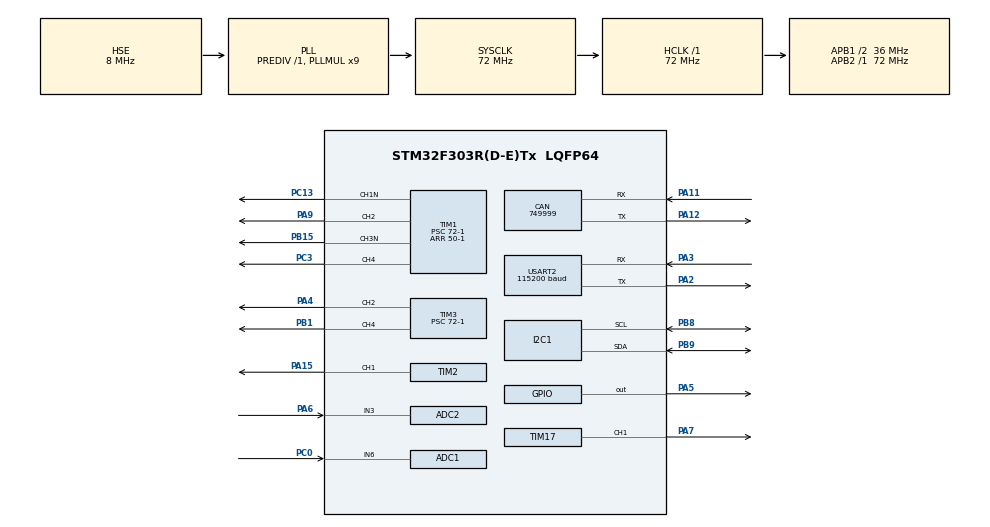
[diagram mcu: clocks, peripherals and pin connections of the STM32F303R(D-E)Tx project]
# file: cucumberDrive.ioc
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ADC1.Channel-0\#ChannelRegularConversion=ADC_CHANNEL_6
ADC1.ClockPrescaler=ADC_CLOCK_ASYNC_DIV1
ADC1.NbrOfConversionFlag=1
ADC1.Offset-0\#ChannelRegularConversion=0
ADC1.OffsetNumber-0\#ChannelRegularConversion=ADC_OFFSET_NONE
ADC1.Rank-0\#ChannelRegularConversion=1
ADC1.SamplingTime-0\#ChannelRegularConversion=ADC_SAMPLETIME_19CYCLES_5
ADC1.SamplingTimeOPAMP-0\#ChannelRegularConversion=ADC_SAMPLETIME_61CYCLES_5
ADC1.master=1
ADC2.Channel-0\#ChannelRegularConversion=ADC_CHANNEL_3
ADC2.NbrOfConversionFlag=1
ADC2.Offset-0\#ChannelRegularConversion=0
ADC2.OffsetNumber-0\#ChannelRegularConversion=ADC_OFFSET_NONE
ADC2.Rank-0\#ChannelRegularConversion=1
ADC2.SamplingTime-0\#ChannelRegularConversion=ADC_SAMPLETIME_19CYCLES_5
ADC2.SamplingTimeOPAMP-0\#ChannelRegularConversion=ADC_SAMPLETIME_61CYCLES_5
CAN.CalculateBaudRate=749999
CAN.CalculateTimeBit=1333
CAN.CalculateTimeQuantum=444.44444444444446
FREERTOS.Tasks01=readData,24,128,StartreadData,Default,NULL,Dynamic,NULL,NULL;transmitUART,16,256,StarttransmitUART,Default,NULL,Dynamic,NULL,NULL;transmitCAN,16,256,StarttransmitCAN,Default,NULL,Dynamic,NULL,NULL
FREERTOS.configTOTAL_HEAP_SIZE=4096
FREERTOS.configUSE_NEWLIB_REENTRANT=1
I2C1.Timing=0x00201D2B
Mcu.Family=STM32F3
Mcu.Name=STM32F303R(D-E)Tx
Mcu.Package=LQFP64
NVIC.PriorityGroup=NVIC_PRIORITYGROUP_4
NVIC.TIM6_DAC_IRQn=true\:15\:0\:false\:false\:true\:false\:false\:true\:true
NVIC.TimeBase=TIM6_DAC_IRQn
NVIC.TimeBaseIP=TIM6
PA11.Mode=CAN_Activate
PA11.Signal=CAN_RX
PA12.Mode=CAN_Activate
PA12.Signal=CAN_TX
PA13.Mode=Serial_Wire
PA13.Signal=SYS_JTMS-SWDIO
PA14.Mode=Serial_Wire
PA14.Signal=SYS_JTCK-SWCLK
PA15.Signal=S_TIM2_CH1_ETR
PA2.Mode=Asynchronous
PA2.Signal=USART2_TX
PA3.Mode=Asynchronous
PA3.Signal=USART2_RX
PA4.Signal=S_TIM3_CH2
PA5.Signal=GPIO_Output
PA6.Mode=IN3-Single-Ended
PA6.Signal=ADC2_IN3
PA7.Signal=S_TIM17_CH1
PA8.Signal=S_TIM1_CH1
PA9.Signal=S_TIM1_CH2
PB1.Signal=S_TIM3_CH4
PB15.Mode=PWM Generation3 CH3N
PB15.Signal=TIM1_CH3N
PB8.Mode=I2C
PB8.Signal=I2C1_SCL
PB9.Mode=I2C
PB9.Signal=I2C1_SDA
PC0.Signal=ADCx_IN6
PC13.Mode=PWM Generation1 CH1N
PC13.Signal=TIM1_CH1N
PC3.Signal=S_TIM1_CH4
PF0-OSC_IN.Mode=HSE-External-Oscillator
PF0-OSC_IN.Signal=RCC_OSC_IN
PF1-OSC_OUT.Mode=HSE-External-Oscillator
PF1-OSC_OUT.Signal=RCC_OSC_OUT
ProjectManager.HeapSize=0x200
ProjectManager.StackSize=0x400
ProjectManager.TargetToolchain=STM32CubeIDE
RCC.AHBFreq_Value=72000000
RCC.APB1CLKDivider=RCC_HCLK_DIV2
RCC.APB1Freq_Value=36000000
RCC.APB1TimFreq_Value=72000000
RCC.APB2Freq_Value=72000000
RCC.APB2TimFreq_Value=72000000
RCC.CortexFreq_Value=72000000
RCC.HCLKFreq_Value=72000000
RCC.HSE_VALUE=8000000
RCC.HSI_VALUE=8000000
RCC.LSE_VALUE=32768
RCC.PLLMUL=RCC_PLL_MUL9
RCC.PLLSourceVirtual=RCC_PLLSOURCE_HSE
RCC.SYSCLKFreq_VALUE=72000000
RCC.SYSCLKSourceVirtual=RCC_SYSCLKSOURCE_PLLCLK
RCC.USBFreq_Value=72000000
SH.ADCx_IN6.0=ADC1_IN6,IN6-Single-Ended
SH.S_TIM17_CH1.0=TIM17_CH1,PWM Generation1 CH1
SH.S_TIM1_CH1.0=TIM1_CH1
SH.S_TIM1_CH2.0=TIM1_CH2,PWM Generation2 CH2
SH.S_TIM1_CH4.0=TIM1_CH4,PWM Generation4 CH4
SH.S_TIM2_CH1_ETR.0=TIM2_CH1,PWM Generation1 CH1
SH.S_TIM3_CH2.0=TIM3_CH2,PWM Generation2 CH2
SH.S_TIM3_CH4.0=TIM3_CH4,PWM Generation4 CH4
TIM1.Channel-PWM\ Generation1\ CH1N=TIM_CHANNEL_1
TIM1.Channel-PWM\ Generation2\ CH2=TIM_CHANNEL_2
TIM1.Channel-PWM\ Generation3\ CH3N=TIM_CHANNEL_3
TIM1.Channel-PWM\ Generation4\ CH4=TIM_CHANNEL_4
TIM1.Period=50-1
TIM1.Prescaler=72-1
TIM17.Channel=TIM_CHANNEL_1
TIM17.Period=50-1
TIM17.Prescaler=72-1
TIM2.Channel-PWM\ Generation1\ CH1=TIM_CHANNEL_1
TIM2.Period=50-1
TIM2.Prescaler=72-1
TIM3.Channel-PWM\ Generation2\ CH2=TIM_CHANNEL_2
TIM3.Channel-PWM\ Generation4\ CH4=TIM_CHANNEL_4
TIM3.Period=50-1
TIM3.Prescaler=72-1
USART2.BaudRate=115200
USART2.VirtualMode-Asynchronous=VM_ASYNC
VP_FREERTOS_VS_CMSIS_V2.Mode=CMSIS_V2
VP_SYS_VS_tim6.Mode=TIM6
VP_TIM17_VS_ClockSourceINT.Mode=Enable_Timer
VP_TIM1_VS_ClockSourceINT.Mode=Internal
VP_TIM2_VS_ClockSourceINT.Mode=Internal
VP_TIM3_VS_ClockSourceINT.Mode=Internal
board=custom

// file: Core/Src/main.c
/* USER CODE BEGIN Header */
/**
  ******************************************************************************
  * @file           : main.c
  * @brief          : Main program body
  ******************************************************************************
  * @attention
  *
  * Copyright (c) 2025 STMicroelectronics.
  * All rights reserved.
  *
  * This software is licensed under terms that can be found in the LICENSE file
  * in the root directory of this software component.
  * If no LICENSE file comes with this software, it is provided AS-IS.
  *
  ******************************************************************************
  */
/* USER CODE END Header */
#include "main.h"
#include "cmsis_os.h"

/* USER CODE BEGIN Includes */
#include <stdio.h> // Include standard I/O for printf
#include <string.h>	 // Include string functions for manipulating strings
#include "BME280_STM32.h" // Include the BME280 header file for sensor functions
/* USER CODE END Includes */

ADC_HandleTypeDef hadc1;
ADC_HandleTypeDef hadc2;

CAN_HandleTypeDef hcan;

I2C_HandleTypeDef hi2c1;

TIM_HandleTypeDef htim1;
TIM_HandleTypeDef htim2;
TIM_HandleTypeDef htim3;
TIM_HandleTypeDef htim17;

UART_HandleTypeDef huart2;

/* Definitions for readData */
osThreadId_t readDataHandle;
const osThreadAttr_t readData_attributes = {
  .name = "readData",
  .stack_size = 128 * 4,
  .priority = (osPriority_t) osPriorityNormal,
};
/* Definitions for transmitUART */
osThreadId_t transmitUARTHandle;
const osThreadAttr_t transmitUART_attributes = {
  .name = "transmitUART",
  .stack_size = 256 * 4,
  .priority = (osPriority_t) osPriorityBelowNormal,
};
/* Definitions for transmitCAN */
osThreadId_t transmitCANHandle;
const osThreadAttr_t transmitCAN_attributes = {
  .name = "transmitCAN",
  .stack_size = 256 * 4,
  .priority = (osPriority_t) osPriorityBelowNormal,
};
/* USER CODE BEGIN PV */
	uint16_t adc1_rawValue = 0; // Variable to store ADC1 value
	uint16_t adc2_rawValue = 0; // Variable to store ADC1 value
	char msg[20];
	char msg2[15];
/* USER CODE END PV */

void SystemClock_Config(void);
static void MX_GPIO_Init(void);
static void MX_I2C1_Init(void);
static void MX_USART2_UART_Init(void);
static void MX_CAN_Init(void);
static void MX_TIM1_Init(void);
static void MX_TIM2_Init(void);
static void MX_TIM3_Init(void);
static void MX_TIM17_Init(void);
static void MX_ADC1_Init(void);
static void MX_ADC2_Init(void);
void StartreadData(void *argument);
void StarttransmitUART(void *argument);
void StarttransmitCAN(void *argument);

/* USER CODE BEGIN 0 */

float Temperature, Pressure, Humidity;

typedef struct {
	float temperature;
	float humidity;
	float voltage1;
	float voltage2;
} SensorData;

osMessageQueueId_t sensorQueueHandle;

/* USER CODE END 0 */

int main(void)
{

  /* MCU Configuration--------------------------------------------------------*/

  /* Reset of all peripherals, Initializes the Flash interface and the Systick. */
  HAL_Init();

  /* Configure the system clock */
  SystemClock_Config();

  /* Initialize all configured peripherals */
  MX_GPIO_Init();
  MX_I2C1_Init();
  MX_USART2_UART_Init();
  MX_CAN_Init();
  MX_TIM1_Init();
  MX_TIM2_Init();
  MX_TIM3_Init();
  MX_TIM17_Init();
  MX_ADC1_Init();
  MX_ADC2_Init();
  /* USER CODE BEGIN 2 */
  HAL_ADC_Start(&hadc1); // Start ADC1
  HAL_ADC_Start(&hadc2); // Start ADC2
  HAL_CAN_Start(&hcan);
  HAL_CAN_ActivateNotification(&hcan, CAN_IT_RX_FIFO1_MSG_PENDING);
  BME280_Config(OSRS_2, OSRS_16, OSRS_1, MODE_NORMAL, T_SB_0p5, IIR_16);
  // Initialize the BME280 sensor with oversampling and mode settings

  // Optocouplers (left motor):

  // Timer 3, Channel 4 on PB1 (TOPIN_LA).
  TIM3->CCR4 = 10;
  HAL_TIM_PWM_Start(&htim3, TIM_CHANNEL_4);

  // Timer 1, Channel 1 on PA8 (BOTIN_LA).
  TIM1->CCR1 = 10;
  HAL_TIM_PWM_Start(&htim1, TIM_CHANNEL_1);

  // Timer 17, Channel 1 on PA7 (TOPIN_LB).
  //TIM17->CCR1 = 25;
  //HAL_TIM_PWM_Start(&htim17, TIM_CHANNEL_1);

  // Timer 1, Channel 2 on PA9 (BOTIN_LB).
  TIM1->CCR2 = 100;
  HAL_TIM_PWM_Start(&htim1, TIM_CHANNEL_2);

  // Optocouplers (Right motor):

  // Timer 1, Channel 4 on PC3 (TOPIN_RA).
  TIM1->CCR4 = 10;
  HAL_TIM_PWM_Start(&htim1, TIM_CHANNEL_4);

  // Timer 1, Channel 3 on PC2 (BOTIN_RA).
  TIM1->CCR3 = 10;
  HAL_TIM_PWM_Start(&htim1, TIM_CHANNEL_3);

  // Timer 2, Channel 1 on PA15 (TOPIN_RB).
  //TIM2->CCR1 = 25;
  //HAL_TIM_PWM_Start(&htim2, TIM_CHANNEL_1);

  // Timer 3, Channel 2 on PA4 (BOTIN_RB).
  TIM3->CCR2 = 100;
  HAL_TIM_PWM_Start(&htim3, TIM_CHANNEL_2);

  /* USER CODE END 2 */

  /* Init scheduler */
  osKernelInitialize();

  /* USER CODE BEGIN RTOS_QUEUES */
  /* add queues, ... */
  sensorQueueHandle = osMessageQueueNew(8, sizeof(SensorData), NULL);
  /* USER CODE END RTOS_QUEUES */

  /* Create the thread(s) */
  /* creation of readData */
  readDataHandle = osThreadNew(StartreadData, NULL, &readData_attributes);

  /* creation of transmitUART */
  transmitUARTHandle = osThreadNew(StarttransmitUART, NULL, &transmitUART_attributes);

  /* creation of transmitCAN */
  transmitCANHandle = osThreadNew(StarttransmitCAN, NULL, &transmitCAN_attributes);

  /* Start scheduler */
  osKernelStart();

  /* We should never get here as control is now taken by the scheduler */

  /* Infinite loop */
  while (1)
  {

  }
}

void SystemClock_Config(void)
{
  RCC_OscInitTypeDef RCC_OscInitStruct = {0};
  RCC_ClkInitTypeDef RCC_ClkInitStruct = {0};
  RCC_PeriphCLKInitTypeDef PeriphClkInit = {0};

  /** Initializes the RCC Oscillators according to the specified parameters
  * in the RCC_OscInitTypeDef structure.
  */
  RCC_OscInitStruct.OscillatorType = RCC_OSCILLATORTYPE_HSI|RCC_OSCILLATORTYPE_HSE;
  RCC_OscInitStruct.HSEState = RCC_HSE_ON;
  RCC_OscInitStruct.HSIState = RCC_HSI_ON;
  RCC_OscInitStruct.HSICalibrationValue = RCC_HSICALIBRATION_DEFAULT;
  RCC_OscInitStruct.PLL.PLLState = RCC_PLL_ON;
  RCC_OscInitStruct.PLL.PLLSource = RCC_PLLSOURCE_HSE;
  RCC_OscInitStruct.PLL.PLLMUL = RCC_PLL_MUL9;
  RCC_OscInitStruct.PLL.PREDIV = RCC_PREDIV_DIV1;
  if (HAL_RCC_OscConfig(&RCC_OscInitStruct) != HAL_OK)
  {
    Error_Handler();
  }

  /** Initializes the CPU, AHB and APB buses clocks
  */
  RCC_ClkInitStruct.ClockType = RCC_CLOCKTYPE_HCLK|RCC_CLOCKTYPE_SYSCLK
                              |RCC_CLOCKTYPE_PCLK1|RCC_CLOCKTYPE_PCLK2;
  RCC_ClkInitStruct.SYSCLKSource = RCC_SYSCLKSOURCE_PLLCLK;
  RCC_ClkInitStruct.AHBCLKDivider = RCC_SYSCLK_DIV1;
  RCC_ClkInitStruct.APB1CLKDivider = RCC_HCLK_DIV2;
  RCC_ClkInitStruct.APB2CLKDivider = RCC_HCLK_DIV1;

  if (HAL_RCC_ClockConfig(&RCC_ClkInitStruct, FLASH_LATENCY_2) != HAL_OK)
  {
    Error_Handler();
  }
  PeriphClkInit.PeriphClockSelection = RCC_PERIPHCLK_USART2|RCC_PERIPHCLK_I2C1
                              |RCC_PERIPHCLK_TIM1|RCC_PERIPHCLK_TIM17
                              |RCC_PERIPHCLK_ADC12|RCC_PERIPHCLK_TIM2
                              |RCC_PERIPHCLK_TIM34;
  PeriphClkInit.Usart2ClockSelection = RCC_USART2CLKSOURCE_PCLK1;
  PeriphClkInit.Adc12ClockSelection = RCC_ADC12PLLCLK_DIV1;
  PeriphClkInit.I2c1ClockSelection = RCC_I2C1CLKSOURCE_HSI;
  PeriphClkInit.Tim1ClockSelection = RCC_TIM1CLK_HCLK;
  PeriphClkInit.Tim17ClockSelection = RCC_TIM17CLK_HCLK;
  PeriphClkInit.Tim2ClockSelection = RCC_TIM2CLK_HCLK;
  PeriphClkInit.Tim34ClockSelection = RCC_TIM34CLK_HCLK;
  if (HAL_RCCEx_PeriphCLKConfig(&PeriphClkInit) != HAL_OK)
  {
    Error_Handler();
  }
}

static void MX_ADC1_Init(void)
{

  ADC_MultiModeTypeDef multimode = {0};
  ADC_ChannelConfTypeDef sConfig = {0};

  /** Common config
  */
  hadc1.Instance = ADC1;
  hadc1.Init.ClockPrescaler = ADC_CLOCK_ASYNC_DIV1;
  hadc1.Init.Resolution = ADC_RESOLUTION_12B;
  hadc1.Init.ScanConvMode = ADC_SCAN_DISABLE;
  hadc1.Init.ContinuousConvMode = DISABLE;
  hadc1.Init.DiscontinuousConvMode = DISABLE;
  hadc1.Init.ExternalTrigConvEdge = ADC_EXTERNALTRIGCONVEDGE_NONE;
  hadc1.Init.ExternalTrigConv = ADC_SOFTWARE_START;
  hadc1.Init.DataAlign = ADC_DATAALIGN_RIGHT;
  hadc1.Init.NbrOfConversion = 1;
  hadc1.Init.DMAContinuousRequests = DISABLE;
  hadc1.Init.EOCSelection = ADC_EOC_SINGLE_CONV;
  hadc1.Init.LowPowerAutoWait = DISABLE;
  hadc1.Init.Overrun = ADC_OVR_DATA_OVERWRITTEN;
  if (HAL_ADC_Init(&hadc1) != HAL_OK)
  {
    Error_Handler();
  }

  /** Configure the ADC multi-mode
  */
  multimode.Mode = ADC_MODE_INDEPENDENT;
  if (HAL_ADCEx_MultiModeConfigChannel(&hadc1, &multimode) != HAL_OK)
  {
    Error_Handler();
  }

  /** Configure Regular Channel
  */
  sConfig.Channel = ADC_CHANNEL_6;
  sConfig.Rank = ADC_REGULAR_RANK_1;
  sConfig.SingleDiff = ADC_SINGLE_ENDED;
  sConfig.SamplingTime = ADC_SAMPLETIME_19CYCLES_5;
  sConfig.OffsetNumber = ADC_OFFSET_NONE;
  sConfig.Offset = 0;
  if (HAL_ADC_ConfigChannel(&hadc1, &sConfig) != HAL_OK)
  {
    Error_Handler();
  }

}

static void MX_ADC2_Init(void)
{

  ADC_ChannelConfTypeDef sConfig = {0};

  /** Common config
  */
  hadc2.Instance = ADC2;
  hadc2.Init.ClockPrescaler = ADC_CLOCK_ASYNC_DIV1;
  hadc2.Init.Resolution = ADC_RESOLUTION_12B;
  hadc2.Init.ScanConvMode = ADC_SCAN_DISABLE;
  hadc2.Init.ContinuousConvMode = DISABLE;
  hadc2.Init.DiscontinuousConvMode = DISABLE;
  hadc2.Init.ExternalTrigConvEdge = ADC_EXTERNALTRIGCONVEDGE_NONE;
  hadc2.Init.ExternalTrigConv = ADC_SOFTWARE_START;
  hadc2.Init.DataAlign = ADC_DATAALIGN_RIGHT;
  hadc2.Init.NbrOfConversion = 1;
  hadc2.Init.DMAContinuousRequests = DISABLE;
  hadc2.Init.EOCSelection = ADC_EOC_SINGLE_CONV;
  hadc2.Init.LowPowerAutoWait = DISABLE;
  hadc2.Init.Overrun = ADC_OVR_DATA_OVERWRITTEN;
  if (HAL_ADC_Init(&hadc2) != HAL_OK)
  {
    Error_Handler();
  }

  /** Configure Regular Channel
  */
  sConfig.Channel = ADC_CHANNEL_3;
  sConfig.Rank = ADC_REGULAR_RANK_1;
  sConfig.SingleDiff = ADC_SINGLE_ENDED;
  sConfig.SamplingTime = ADC_SAMPLETIME_19CYCLES_5;
  sConfig.OffsetNumber = ADC_OFFSET_NONE;
  sConfig.Offset = 0;
  if (HAL_ADC_ConfigChannel(&hadc2, &sConfig) != HAL_OK)
  {
    Error_Handler();
  }

}

static void MX_CAN_Init(void)
{

  hcan.Instance = CAN;
  hcan.Init.Prescaler = 16;
  hcan.Init.Mode = CAN_MODE_NORMAL;
  hcan.Init.SyncJumpWidth = CAN_SJW_1TQ;
  hcan.Init.TimeSeg1 = CAN_BS1_1TQ;
  hcan.Init.TimeSeg2 = CAN_BS2_1TQ;
  hcan.Init.TimeTriggeredMode = DISABLE;
  hcan.Init.AutoBusOff = DISABLE;
  hcan.Init.AutoWakeUp = DISABLE;
  hcan.Init.AutoRetransmission = DISABLE;
  hcan.Init.ReceiveFifoLocked = DISABLE;
  hcan.Init.TransmitFifoPriority = DISABLE;
  if (HAL_CAN_Init(&hcan) != HAL_OK)
  {
    Error_Handler();
  }
  /* USER CODE BEGIN CAN_Init 2 */

  CAN_FilterTypeDef canfilterconfig;

  canfilterconfig.FilterActivation = CAN_FILTER_ENABLE;
  canfilterconfig.FilterBank = 10;  // which filter bank to use from the assigned ones
  canfilterconfig.FilterFIFOAssignment = CAN_FILTER_FIFO1;
  canfilterconfig.FilterIdHigh = 0x446<<5;
  canfilterconfig.FilterIdLow = 0;
  canfilterconfig.FilterMaskIdHigh = 0x446<<5;
  canfilterconfig.FilterMaskIdLow = 0x0000;
  canfilterconfig.FilterMode = CAN_FILTERMODE_IDMASK;
  canfilterconfig.FilterScale = CAN_FILTERSCALE_32BIT;
  canfilterconfig.SlaveStartFilterBank = 0;  // doesn't matter in single can controllers

  HAL_CAN_ConfigFilter(&hcan, &canfilterconfig);

  /* USER CODE END CAN_Init 2 */

}

static void MX_I2C1_Init(void)
{

  hi2c1.Instance = I2C1;
  hi2c1.Init.Timing = 0x00201D2B;
  hi2c1.Init.OwnAddress1 = 0;
  hi2c1.Init.AddressingMode = I2C_ADDRESSINGMODE_7BIT;
  hi2c1.Init.DualAddressMode = I2C_DUALADDRESS_DISABLE;
  hi2c1.Init.OwnAddress2 = 0;
  hi2c1.Init.OwnAddress2Masks = I2C_OA2_NOMASK;
  hi2c1.Init.GeneralCallMode = I2C_GENERALCALL_DISABLE;
  hi2c1.Init.NoStretchMode = I2C_NOSTRETCH_DISABLE;
  if (HAL_I2C_Init(&hi2c1) != HAL_OK)
  {
    Error_Handler();
  }

  /** Configure Analogue filter
  */
  if (HAL_I2CEx_ConfigAnalogFilter(&hi2c1, I2C_ANALOGFILTER_ENABLE) != HAL_OK)
  {
    Error_Handler();
  }

  /** Configure Digital filter
  */
  if (HAL_I2CEx_ConfigDigitalFilter(&hi2c1, 0) != HAL_OK)
  {
    Error_Handler();
  }

}

static void MX_TIM1_Init(void)
{

  TIM_ClockConfigTypeDef sClockSourceConfig = {0};
  TIM_MasterConfigTypeDef sMasterConfig = {0};
  TIM_OC_InitTypeDef sConfigOC = {0};
  TIM_BreakDeadTimeConfigTypeDef sBreakDeadTimeConfig = {0};

  htim1.Instance = TIM1;
  htim1.Init.Prescaler = 72-1;
  htim1.Init.CounterMode = TIM_COUNTERMODE_UP;
  htim1.Init.Period = 50-1;
  htim1.Init.ClockDivision = TIM_CLOCKDIVISION_DIV1;
  htim1.Init.RepetitionCounter = 0;
  htim1.Init.AutoReloadPreload = TIM_AUTORELOAD_PRELOAD_DISABLE;
  if (HAL_TIM_Base_Init(&htim1) != HAL_OK)
  {
    Error_Handler();
  }
  sClockSourceConfig.ClockSource = TIM_CLOCKSOURCE_INTERNAL;
  if (HAL_TIM_ConfigClockSource(&htim1, &sClockSourceConfig) != HAL_OK)
  {
    Error_Handler();
  }
  if (HAL_TIM_PWM_Init(&htim1) != HAL_OK)
  {
    Error_Handler();
  }
  sMasterConfig.MasterOutputTrigger = TIM_TRGO_RESET;
  sMasterConfig.MasterOutputTrigger2 = TIM_TRGO2_RESET;
  sMasterConfig.MasterSlaveMode = TIM_MASTERSLAVEMODE_DISABLE;
  if (HAL_TIMEx_MasterConfigSynchronization(&htim1, &sMasterConfig) != HAL_OK)
  {
    Error_Handler();
  }
  sConfigOC.OCMode = TIM_OCMODE_PWM1;
  sConfigOC.Pulse = 0;
  sConfigOC.OCPolarity = TIM_OCPOLARITY_HIGH;
  sConfigOC.OCNPolarity = TIM_OCNPOLARITY_HIGH;
  sConfigOC.OCFastMode = TIM_OCFAST_DISABLE;
  sConfigOC.OCIdleState = TIM_OCIDLESTATE_RESET;
  sConfigOC.OCNIdleState = TIM_OCNIDLESTATE_RESET;
  if (HAL_TIM_PWM_ConfigChannel(&htim1, &sConfigOC, TIM_CHANNEL_1) != HAL_OK)
  {
    Error_Handler();
  }
  if (HAL_TIM_PWM_ConfigChannel(&htim1, &sConfigOC, TIM_CHANNEL_2) != HAL_OK)
  {
    Error_Handler();
  }
  if (HAL_TIM_PWM_ConfigChannel(&htim1, &sConfigOC, TIM_CHANNEL_3) != HAL_OK)
  {
    Error_Handler();
  }
  if (HAL_TIM_PWM_ConfigChannel(&htim1, &sConfigOC, TIM_CHANNEL_4) != HAL_OK)
  {
    Error_Handler();
  }
  sBreakDeadTimeConfig.OffStateRunMode = TIM_OSSR_DISABLE;
  sBreakDeadTimeConfig.OffStateIDLEMode = TIM_OSSI_DISABLE;
  sBreakDeadTimeConfig.LockLevel = TIM_LOCKLEVEL_OFF;
  sBreakDeadTimeConfig.DeadTime = 0;
  sBreakDeadTimeConfig.BreakState = TIM_BREAK_DISABLE;
  sBreakDeadTimeConfig.BreakPolarity = TIM_BREAKPOLARITY_HIGH;
  sBreakDeadTimeConfig.BreakFilter = 0;
  sBreakDeadTimeConfig.Break2State = TIM_BREAK2_DISABLE;
  sBreakDeadTimeConfig.Break2Polarity = TIM_BREAK2POLARITY_HIGH;
  sBreakDeadTimeConfig.Break2Filter = 0;
  sBreakDeadTimeConfig.AutomaticOutput = TIM_AUTOMATICOUTPUT_DISABLE;
  if (HAL_TIMEx_ConfigBreakDeadTime(&htim1, &sBreakDeadTimeConfig) != HAL_OK)
  {
    Error_Handler();
  }
  HAL_TIM_MspPostInit(&htim1);

}

static void MX_TIM2_Init(void)
{

  TIM_ClockConfigTypeDef sClockSourceConfig = {0};
  TIM_MasterConfigTypeDef sMasterConfig = {0};
  TIM_OC_InitTypeDef sConfigOC = {0};

  htim2.Instance = TIM2;
  htim2.Init.Prescaler = 72-1;
  htim2.Init.CounterMode = TIM_COUNTERMODE_UP;
  htim2.Init.Period = 50-1;
  htim2.Init.ClockDivision = TIM_CLOCKDIVISION_DIV1;
  htim2.Init.AutoReloadPreload = TIM_AUTORELOAD_PRELOAD_DISABLE;
  if (HAL_TIM_Base_Init(&htim2) != HAL_OK)
  {
    Error_Handler();
  }
  sClockSourceConfig.ClockSource = TIM_CLOCKSOURCE_INTERNAL;
  if (HAL_TIM_ConfigClockSource(&htim2, &sClockSourceConfig) != HAL_OK)
  {
    Error_Handler();
  }
  if (HAL_TIM_PWM_Init(&htim2) != HAL_OK)
  {
    Error_Handler();
  }
  sMasterConfig.MasterOutputTrigger = TIM_TRGO_RESET;
  sMasterConfig.MasterSlaveMode = TIM_MASTERSLAVEMODE_DISABLE;
  if (HAL_TIMEx_MasterConfigSynchronization(&htim2, &sMasterConfig) != HAL_OK)
  {
    Error_Handler();
  }
  sConfigOC.OCMode = TIM_OCMODE_PWM1;
  sConfigOC.Pulse = 0;
  sConfigOC.OCPolarity = TIM_OCPOLARITY_HIGH;
  sConfigOC.OCFastMode = TIM_OCFAST_DISABLE;
  if (HAL_TIM_PWM_ConfigChannel(&htim2, &sConfigOC, TIM_CHANNEL_1) != HAL_OK)
  {
    Error_Handler();
  }
  HAL_TIM_MspPostInit(&htim2);

}

static void MX_TIM3_Init(void)
{

  TIM_ClockConfigTypeDef sClockSourceConfig = {0};
  TIM_MasterConfigTypeDef sMasterConfig = {0};
  TIM_OC_InitTypeDef sConfigOC = {0};

  htim3.Instance = TIM3;
  htim3.Init.Prescaler = 72-1;
  htim3.Init.CounterMode = TIM_COUNTERMODE_UP;
  htim3.Init.Period = 50-1;
  htim3.Init.ClockDivision = TIM_CLOCKDIVISION_DIV1;
  htim3.Init.AutoReloadPreload = TIM_AUTORELOAD_PRELOAD_DISABLE;
  if (HAL_TIM_Base_Init(&htim3) != HAL_OK)
  {
    Error_Handler();
  }
  sClockSourceConfig.ClockSource = TIM_CLOCKSOURCE_INTERNAL;
  if (HAL_TIM_ConfigClockSource(&htim3, &sClockSourceConfig) != HAL_OK)
  {
    Error_Handler();
  }
  if (HAL_TIM_PWM_Init(&htim3) != HAL_OK)
  {
    Error_Handler();
  }
  sMasterConfig.MasterOutputTrigger = TIM_TRGO_RESET;
  sMasterConfig.MasterSlaveMode = TIM_MASTERSLAVEMODE_DISABLE;
  if (HAL_TIMEx_MasterConfigSynchronization(&htim3, &sMasterConfig) != HAL_OK)
  {
    Error_Handler();
  }
  sConfigOC.OCMode = TIM_OCMODE_PWM1;
  sConfigOC.Pulse = 0;
  sConfigOC.OCPolarity = TIM_OCPOLARITY_HIGH;
  sConfigOC.OCFastMode = TIM_OCFAST_DISABLE;
  if (HAL_TIM_PWM_ConfigChannel(&htim3, &sConfigOC, TIM_CHANNEL_2) != HAL_OK)
  {
    Error_Handler();
  }
  if (HAL_TIM_PWM_ConfigChannel(&htim3, &sConfigOC, TIM_CHANNEL_4) != HAL_OK)
  {
    Error_Handler();
  }
  HAL_TIM_MspPostInit(&htim3);

}

static void MX_TIM17_Init(void)
{

  TIM_OC_InitTypeDef sConfigOC = {0};
  TIM_BreakDeadTimeConfigTypeDef sBreakDeadTimeConfig = {0};

  htim17.Instance = TIM17;
  htim17.Init.Prescaler = 72-1;
  htim17.Init.CounterMode = TIM_COUNTERMODE_UP;
  htim17.Init.Period = 50-1;
  htim17.Init.ClockDivision = TIM_CLOCKDIVISION_DIV1;
  htim17.Init.RepetitionCounter = 0;
  htim17.Init.AutoReloadPreload = TIM_AUTORELOAD_PRELOAD_DISABLE;
  if (HAL_TIM_Base_Init(&htim17) != HAL_OK)
  {
    Error_Handler();
  }
  if (HAL_TIM_PWM_Init(&htim17) != HAL_OK)
  {
    Error_Handler();
  }
  sConfigOC.OCMode = TIM_OCMODE_PWM1;
  sConfigOC.Pulse = 0;
  sConfigOC.OCPolarity = TIM_OCPOLARITY_HIGH;
  sConfigOC.OCNPolarity = TIM_OCNPOLARITY_HIGH;
  sConfigOC.OCFastMode = TIM_OCFAST_DISABLE;
  sConfigOC.OCIdleState = TIM_OCIDLESTATE_RESET;
  sConfigOC.OCNIdleState = TIM_OCNIDLESTATE_RESET;
  if (HAL_TIM_PWM_ConfigChannel(&htim17, &sConfigOC, TIM_CHANNEL_1) != HAL_OK)
  {
    Error_Handler();
  }
  sBreakDeadTimeConfig.OffStateRunMode = TIM_OSSR_DISABLE;
  sBreakDeadTimeConfig.OffStateIDLEMode = TIM_OSSI_DISABLE;
  sBreakDeadTimeConfig.LockLevel = TIM_LOCKLEVEL_OFF;
  sBreakDeadTimeConfig.DeadTime = 0;
  sBreakDeadTimeConfig.BreakState = TIM_BREAK_DISABLE;
  sBreakDeadTimeConfig.BreakPolarity = TIM_BREAKPOLARITY_HIGH;
  sBreakDeadTimeConfig.BreakFilter = 0;
  sBreakDeadTimeConfig.AutomaticOutput = TIM_AUTOMATICOUTPUT_DISABLE;
  if (HAL_TIMEx_ConfigBreakDeadTime(&htim17, &sBreakDeadTimeConfig) != HAL_OK)
  {
    Error_Handler();
  }
  HAL_TIM_MspPostInit(&htim17);

}

static void MX_USART2_UART_Init(void)
{

  huart2.Instance = USART2;
  huart2.Init.BaudRate = 115200;
  huart2.Init.WordLength = UART_WORDLENGTH_8B;
  huart2.Init.StopBits = UART_STOPBITS_1;
  huart2.Init.Parity = UART_PARITY_NONE;
  huart2.Init.Mode = UART_MODE_TX_RX;
  huart2.Init.HwFlowCtl = UART_HWCONTROL_NONE;
  huart2.Init.OverSampling = UART_OVERSAMPLING_16;
  huart2.Init.OneBitSampling = UART_ONE_BIT_SAMPLE_DISABLE;
  huart2.AdvancedInit.AdvFeatureInit = UART_ADVFEATURE_NO_INIT;
  if (HAL_UART_Init(&huart2) != HAL_OK)
  {
    Error_Handler();
  }

}

static void MX_GPIO_Init(void)
{
  GPIO_InitTypeDef GPIO_InitStruct = {0};

  /* GPIO Ports Clock Enable */
  __HAL_RCC_GPIOC_CLK_ENABLE();
  __HAL_RCC_GPIOF_CLK_ENABLE();
  __HAL_RCC_GPIOA_CLK_ENABLE();
  __HAL_RCC_GPIOB_CLK_ENABLE();

  /*Configure GPIO pin Output Level */
  HAL_GPIO_WritePin(GPIOA, GPIO_PIN_5, GPIO_PIN_RESET);

  /*Configure GPIO pin : PA5 */
  GPIO_InitStruct.Pin = GPIO_PIN_5;
  GPIO_InitStruct.Mode = GPIO_MODE_OUTPUT_PP;
  GPIO_InitStruct.Pull = GPIO_NOPULL;
  GPIO_InitStruct.Speed = GPIO_SPEED_FREQ_LOW;
  HAL_GPIO_Init(GPIOA, &GPIO_InitStruct);

}

void StartreadData(void *argument)
{
  /* USER CODE BEGIN 5 */
  /* Infinite loop */
  for(;;)
  {
	HAL_GPIO_TogglePin(GPIOA, GPIO_PIN_5); // Toggle LED on pin PA5

	BME280_Measure(); // Measure temperature, pressure, and humidity
	SensorData Measurements;
	Measurements.temperature = Temperature; // Store temperature in data structure
	Measurements.humidity = Humidity; // Store humidity in data structure

	HAL_ADC_PollForConversion(&hadc1, 20); // Poll ADC1 for conversion
	adc1_rawValue = HAL_ADC_GetValue(&hadc1); // Get ADC1 value
	Measurements.voltage1 = adc1_rawValue * (3.3f / 4095.0f); // Convert ADC value to voltage for ADC1

	HAL_ADC_PollForConversion(&hadc2, 20); // Poll ADC2 for conversion
	adc2_rawValue = HAL_ADC_GetValue(&hadc2); // Get ADC2 value
	Measurements.voltage2 = adc2_rawValue * (3.3f / 4095.0f); // Convert ADC value to voltage for ADC2

	osMessageQueuePut(sensorQueueHandle, &Measurements, 0, 0); // Send data to the queue
    osDelay(500); // Delay for 500 ms
  }
  /* USER CODE END 5 */
}

void StarttransmitUART(void *argument)
{
  /* USER CODE BEGIN StarttransmitUART */
  /* Infinite loop */
  for(;;)
  {
	SensorData Measurements;
	if (osMessageQueueGet(sensorQueueHandle, &Measurements, NULL, osWaitForever) == osOK) {
		char tx_buffer[64];
		int len = snprintf(tx_buffer, sizeof(tx_buffer), "T1:%.2f H1:%.2f V1:%.2f V2:%.2f\r\n", Measurements.temperature, Measurements.humidity, Measurements.voltage1, Measurements.voltage2);
		HAL_UART_Transmit(&huart2, (uint8_t*)tx_buffer, len, 100);
	}
    osDelay(5000); // Delay for 5000 ms
  }
  /* USER CODE END StarttransmitUART */
}

void StarttransmitCAN(void *argument)
{
  /* USER CODE BEGIN StarttransmitCAN */
  /* Infinite loop */
  for(;;)
  {
	  SensorData BME280data;
	  CAN_TxHeaderTypeDef TxHeader;
	  uint32_t TxMailbox;
	  uint8_t can_data[8];

	  TxHeader.DLC = 2; // 2 bytes: 1 byte temperature, 1 byte humidity
	  TxHeader.StdId = 0x321;
	  TxHeader.IDE = CAN_ID_STD;
	  TxHeader.RTR = CAN_RTR_DATA;
	  TxHeader.TransmitGlobalTime = DISABLE;

	  // Example: cast float to int and clamp for CAN
	  can_data[0] = (uint8_t)(BME280data.temperature);
	  can_data[1] = (uint8_t)(BME280data.humidity);

	  HAL_CAN_AddTxMessage(&hcan, &TxHeader, can_data, &TxMailbox);
    osDelay(5000);
  }
  /* USER CODE END StarttransmitCAN */
}

void HAL_TIM_PeriodElapsedCallback(TIM_HandleTypeDef *htim)
{
  if (htim->Instance == TIM6)
  {
    HAL_IncTick();
  }
}

void Error_Handler(void)
{
  __disable_irq();
  while (1)
  {
  }
}
